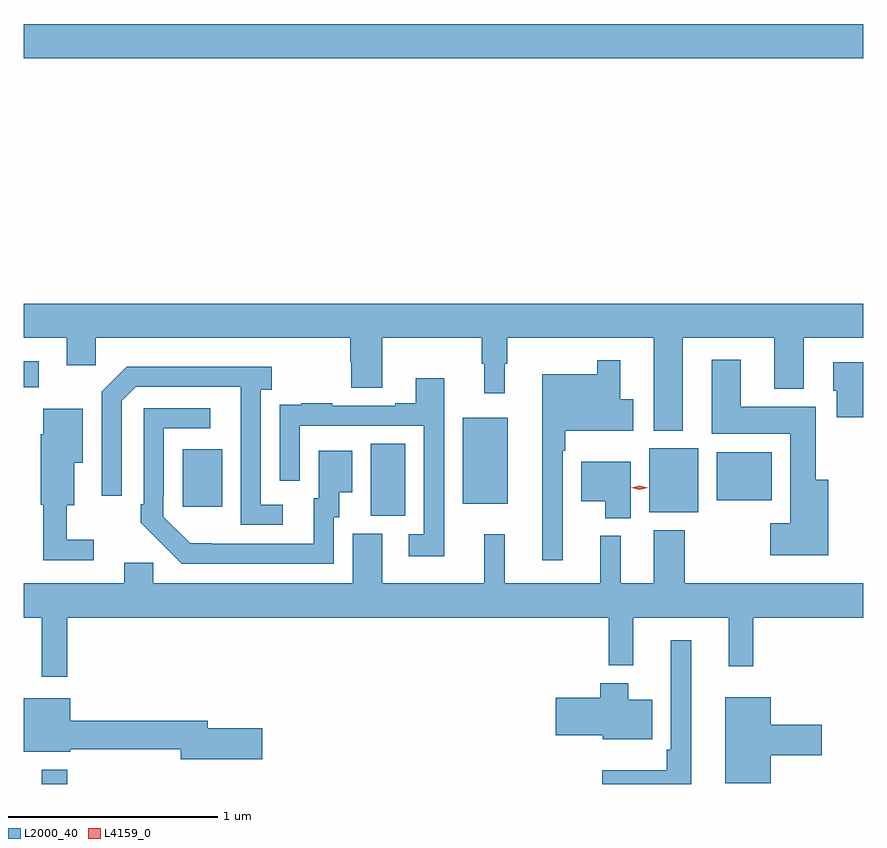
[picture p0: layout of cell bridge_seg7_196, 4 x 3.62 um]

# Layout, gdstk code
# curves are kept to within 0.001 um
import gdstk
lib = gdstk.Library(unit=1e-6, precision=1e-09)
def R(c, l, rs):  # rectangles x0, y0, x1, y1
    for r in rs: c.add(gdstk.rectangle(r[:2], r[2:], *l))
def P(c, l, *ps):  # polygons
    for p in ps: c.add(gdstk.Polygon(p, *l))
L2000_40 = (2000, 40)
L4159_0 = (4159, 0)

bridge_seg7_196 = lib.new_cell('bridge_seg7_196')
R(bridge_seg7_196, L2000_40, [(417.761,1005.151,417.883,1005.22), (419.33,1006.429,419.494,1006.772), (420.656,1006.445,420.889,1006.75), (418.433,1006.473,418.621,1006.747), (419.768,1006.487,419.983,1006.897), (420.977,1006.502,421.24,1006.732), (417.676,1007.042,417.748,1007.164), (417.676,1008.608,421.676,1008.772)])
P(bridge_seg7_196, L2000_40, [(417.676,1007.276),(417.881,1007.276),(417.881,1007.145),(418.02,1007.145),(418.02,1007.276),(419.231,1007.276),(419.231,1007.163),(419.236,1007.163),(419.236,1007.038),(419.383,1007.038),(419.383,1007.276),(419.859,1007.276),(419.859,1007.153),(419.87,1007.153),(419.87,1007.013),(419.968,1007.013),(419.968,1007.153),(419.98,1007.153),(419.98,1007.276),(420.677,1007.276),(420.677,1006.835),(420.817,1006.835),(420.817,1007.276),(421.253,1007.276),(421.253,1007.033),(421.393,1007.033),(421.393,1007.276),(421.676,1007.276),(421.676,1007.44),(417.676,1007.44)],
  [(421.51,1006.6),(421.45,1006.6),(421.45,1006.948),(421.093,1006.948),(421.093,1007.173),(420.953,1007.173),(420.953,1006.82),(421.328,1006.82),(421.328,1006.393),(421.233,1006.393),(421.233,1006.241),(421.51,1006.241)],
  [(420.243,1006.739),(420.256,1006.739),(420.256,1006.835),(420.58,1006.835),(420.58,1006.983),(420.517,1006.983),(420.517,1007.17),(420.408,1007.17),(420.408,1007.104),(420.146,1007.104),(420.146,1006.218),(420.243,1006.218)],
  [(421.676,1007.161),(421.532,1007.161),(421.532,1007.025),(421.55,1007.025),(421.55,1006.898),(421.676,1006.898)],
  [(418.909,1006.482),(418.806,1006.482),(418.806,1007.03),(418.858,1007.03),(418.858,1007.14),(418.168,1007.14),(418.047,1007.019),(418.047,1006.524),(418.143,1006.524),(418.143,1006.977),(418.209,1007.043),(418.709,1007.043),(418.71,1006.386),(418.909,1006.386)],
  [(419.679,1007.083),(419.543,1007.083),(419.543,1006.966),(419.447,1006.966),(419.447,1006.953),(419.147,1006.953),(419.147,1006.966),(418.999,1006.966),(418.999,1006.959),(418.897,1006.959),(418.897,1006.85),(418.896,1006.85),(418.896,1006.596),(418.992,1006.596),(418.992,1006.857),(419.583,1006.857),(419.583,1006.341),(419.511,1006.341),(419.511,1006.236),(419.679,1006.236)],
  [(419.154,1006.422),(419.179,1006.422),(419.179,1006.541),(419.242,1006.541),(419.242,1006.738),(419.081,1006.738),(419.081,1006.512),(419.057,1006.512),(419.057,1006.296),(418.47,1006.297),(418.341,1006.425),(418.341,1006.525),(418.344,1006.525),(418.344,1006.845),(418.564,1006.845),(418.564,1006.941),(418.248,1006.941),(418.248,1006.483),(418.233,1006.483),(418.233,1006.395),(418.43,1006.2),(419.154,1006.2)],
  [(418.009,1006.315),(417.88,1006.315),(417.88,1006.478),(417.916,1006.478),(417.916,1006.682),(417.958,1006.682),(417.958,1006.939),(417.77,1006.939),(417.77,1006.818),(417.758,1006.818),(417.758,1006.482),(417.769,1006.482),(417.769,1006.218),(418.009,1006.218)],
  [(420.568,1006.687),(420.332,1006.687),(420.332,1006.499),(420.446,1006.499),(420.446,1006.418),(420.568,1006.418)],
  [(417.883,1005.944),(420.463,1005.944),(420.463,1005.716),(420.581,1005.716),(420.581,1005.944),(421.034,1005.944),(421.034,1005.711),(421.151,1005.711),(421.151,1005.944),(421.676,1005.944),(421.676,1006.108),(420.825,1006.108),(420.825,1006.36),(420.677,1006.36),(420.677,1006.108),(420.52,1006.108),(420.52,1006.333),(420.422,1006.333),(420.422,1006.108),(419.969,1006.108),(419.969,1006.342),(419.87,1006.342),(419.87,1006.108),(419.383,1006.108),(419.383,1006.344),(419.243,1006.344),(419.243,1006.108),(418.293,1006.108),(418.293,1006.206),(418.154,1006.206),(418.154,1006.108),(417.676,1006.108),(417.676,1005.944),(417.761,1005.944),(417.761,1005.663),(417.883,1005.663)],
  [(420.856,1005.835),(420.759,1005.835),(420.759,1005.313),(420.739,1005.313),(420.739,1005.217),(420.432,1005.217),(420.432,1005.151),(420.856,1005.151)],
  [(420.67,1005.553),(420.556,1005.553),(420.556,1005.631),(420.422,1005.631),(420.422,1005.561),(420.21,1005.561),(420.21,1005.383),(420.434,1005.383),(420.434,1005.365),(420.67,1005.365)],
  [(421.234,1005.287),(421.477,1005.287),(421.477,1005.434),(421.234,1005.434),(421.234,1005.565),(421.019,1005.565),(421.019,1005.155),(421.234,1005.155)],
  [(418.813,1005.416),(418.552,1005.416),(418.552,1005.452),(417.898,1005.452),(417.898,1005.559),(417.676,1005.559),(417.676,1005.305),(417.898,1005.305),(417.898,1005.316),(418.424,1005.316),(418.424,1005.269),(418.813,1005.269)])
P(bridge_seg7_196, L4159_0, [(420.611,1006.552),(420.572,1006.562),(420.572,1006.563),(420.572,1006.563),(420.611,1006.572),(420.65,1006.562),(420.65,1006.562),(420.65,1006.562)])

lib.write_gds('bridge_seg7_196.gds')
